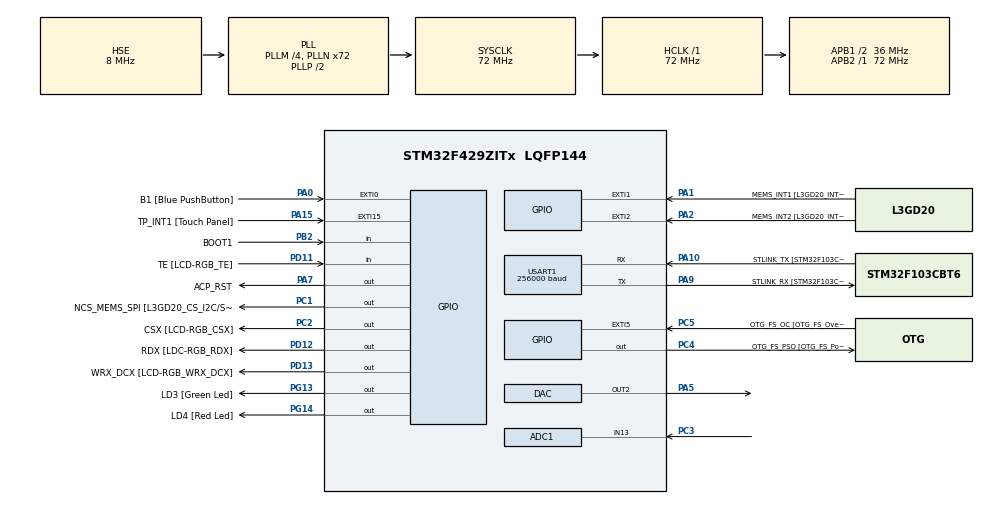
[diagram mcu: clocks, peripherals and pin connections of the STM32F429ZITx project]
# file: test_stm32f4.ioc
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ADC1.Channel-0\#ChannelRegularConversion=ADC_CHANNEL_13
ADC1.ExternalTrigConv=ADC_EXTERNALTRIGCONV_T3_TRGO
ADC1.NbrOfConversionFlag=1
ADC1.Rank-0\#ChannelRegularConversion=1
ADC1.SamplingTime-0\#ChannelRegularConversion=ADC_SAMPLETIME_3CYCLES
ADC1.master=1
DAC.DAC_Trigger2=DAC_TRIGGER_T6_TRGO
Dma.DAC2.0.Direction=DMA_MEMORY_TO_PERIPH
Dma.DAC2.0.FIFOMode=DMA_FIFOMODE_DISABLE
Dma.DAC2.0.Instance=DMA1_Stream6
Dma.DAC2.0.MemDataAlignment=DMA_MDATAALIGN_HALFWORD
Dma.DAC2.0.MemInc=DMA_MINC_ENABLE
Dma.DAC2.0.Mode=DMA_CIRCULAR
Dma.DAC2.0.PeriphDataAlignment=DMA_PDATAALIGN_HALFWORD
Dma.DAC2.0.PeriphInc=DMA_PINC_DISABLE
Dma.DAC2.0.Priority=DMA_PRIORITY_LOW
Dma.Request0=DAC2
Mcu.Family=STM32F4
Mcu.Name=STM32F429ZITx
Mcu.Package=LQFP144
NVIC.ADC_IRQn=true\:0\:0\:false\:false\:true\:true\:true\:true
NVIC.DMA1_Stream6_IRQn=true\:0\:0\:false\:false\:true\:false\:true\:true
NVIC.PriorityGroup=NVIC_PRIORITYGROUP_4
NVIC.TIM6_DAC_IRQn=true\:15\:0\:false\:false\:true\:false\:true\:true
NVIC.USART1_IRQn=true\:0\:0\:false\:false\:true\:true\:true\:true
PA0/WKUP.GPIO_Label=B1 [Blue PushButton]
PA0/WKUP.GPIO_ModeDefaultEXTI=GPIO_MODE_EVT_RISING
PA0/WKUP.GPIO_PuPd=GPIO_NOPULL
PA0/WKUP.Signal=GPXTI0
PA1.GPIO_Label=MEMS_INT1 [L3GD20_INT1]
PA1.GPIO_ModeDefaultEXTI=GPIO_MODE_EVT_RISING
PA1.GPIO_PuPd=GPIO_NOPULL
PA1.Signal=GPXTI1
PA10.GPIO_Label=STLINK_TX [STM32F103CBT6_PA2]
PA10.Mode=Asynchronous
PA10.Signal=USART1_RX
PA11.GPIO_Label=R4
PA11.GPIO_Mode=GPIO_MODE_AF_PP
PA11.GPIO_PuPd=GPIO_NOPULL
PA11.GPIO_Speed=GPIO_SPEED_FREQ_LOW
PA11.Signal=LTDC_R4
PA12.GPIO_Label=R5
PA12.GPIO_Mode=GPIO_MODE_AF_PP
PA12.GPIO_PuPd=GPIO_NOPULL
PA12.GPIO_Speed=GPIO_SPEED_FREQ_LOW
PA12.Signal=LTDC_R5
PA13.GPIO_Label=SWDIO
PA13.Mode=Serial_Wire
PA13.Signal=SYS_JTMS-SWDIO
PA14.GPIO_Label=SWCLK
PA14.Mode=Serial_Wire
PA14.Signal=SYS_JTCK-SWCLK
PA15.GPIO_Label=TP_INT1 [Touch Panel]
PA15.GPIO_ModeDefaultEXTI=GPIO_MODE_EVT_RISING
PA15.GPIO_PuPd=GPIO_NOPULL
PA15.Signal=GPXTI15
PA2.GPIO_Label=MEMS_INT2 [L3GD20_INT2]
PA2.GPIO_ModeDefaultEXTI=GPIO_MODE_EVT_RISING
PA2.GPIO_PuPd=GPIO_NOPULL
PA2.Signal=GPXTI2
PA3.GPIO_Label=B5
PA3.GPIO_Mode=GPIO_MODE_AF_PP
PA3.GPIO_PuPd=GPIO_NOPULL
PA3.GPIO_Speed=GPIO_SPEED_FREQ_LOW
PA3.Signal=LTDC_B5
PA4.GPIO_Label=VSYNC
PA4.GPIO_Mode=GPIO_MODE_AF_PP
PA4.GPIO_PuPd=GPIO_NOPULL
PA4.GPIO_Speed=GPIO_SPEED_FREQ_LOW
PA4.Signal=LTDC_VSYNC
PA5.Signal=COMP_DAC2_group
PA6.GPIO_Label=G2
PA6.GPIO_Mode=GPIO_MODE_AF_PP
PA6.GPIO_PuPd=GPIO_NOPULL
PA6.GPIO_Speed=GPIO_SPEED_FREQ_LOW
PA6.Signal=LTDC_G2
PA7.GPIO_Label=ACP_RST
PA7.GPIO_Mode=GPIO_MODE_OUTPUT_PP
PA7.GPIO_PuPd=GPIO_NOPULL
PA7.GPIO_Speed=GPIO_SPEED_FREQ_LOW
PA7.Signal=GPIO_Output
PA8.GPIO_Label=I2C3_SCL [ACP/RF_SCL]
PA8.GPIO_Mode=GPIO_MODE_AF_OD
PA8.GPIO_Pu=GPIO_PULLUP
PA8.GPIO_PuPd=GPIO_NOPULL
PA8.GPIO_Speed=GPIO_SPEED_FREQ_LOW
PA8.Signal=I2C3_SCL
PA9.GPIO_Label=STLINK_RX [STM32F103CBT6_PA3]
PA9.Mode=Asynchronous
PA9.Signal=USART1_TX
PB0.GPIO_Label=R3
PB0.GPIO_Mode=GPIO_MODE_AF_PP
PB0.GPIO_PuPd=GPIO_NOPULL
PB0.GPIO_Speed=GPIO_SPEED_FREQ_LOW
PB0.Signal=LTDC_R3
PB1.GPIO_Label=R6
PB1.GPIO_Mode=GPIO_MODE_AF_PP
PB1.GPIO_PuPd=GPIO_NOPULL
PB1.GPIO_Speed=GPIO_SPEED_FREQ_LOW
PB1.Signal=LTDC_R6
PB10.GPIO_Label=G4
PB10.GPIO_Mode=GPIO_MODE_AF_PP
PB10.GPIO_PuPd=GPIO_NOPULL
PB10.GPIO_Speed=GPIO_SPEED_FREQ_LOW
PB10.Signal=LTDC_G4
PB11.GPIO_Label=G5
PB11.GPIO_Mode=GPIO_MODE_AF_PP
PB11.GPIO_PuPd=GPIO_NOPULL
PB11.GPIO_Speed=GPIO_SPEED_FREQ_LOW
PB11.Signal=LTDC_G5
PB12.GPIO_Label=OTG_HS_ID
PB12.GPIO_Mode=GPIO_MODE_AF_PP
PB12.GPIO_PuPd=GPIO_NOPULL
PB12.GPIO_Speed=GPIO_SPEED_FREQ_LOW
PB12.Signal=USB_OTG_HS_ID
PB13.GPIO_Label=VBUS_HS
PB13.GPIO_Mode=GPIO_MODE_INPUT
PB13.GPIO_PuPd=GPIO_NOPULL
PB13.Signal=USB_OTG_HS_VBUS
PB14.GPIO_Label=OTG_HS_DM
PB14.GPIO_Mode=GPIO_MODE_AF_PP
PB14.GPIO_PuPd=GPIO_NOPULL
PB14.GPIO_Speed=GPIO_SPEED_FREQ_LOW
PB14.Signal=USB_OTG_HS_DM
PB15.GPIO_Label=OTG_HS_DP
PB15.GPIO_Mode=GPIO_MODE_AF_PP
PB15.GPIO_PuPd=GPIO_NOPULL
PB15.GPIO_Speed=GPIO_SPEED_FREQ_LOW
PB15.Signal=USB_OTG_HS_DP
PB2/BOOT1.GPIO_Label=BOOT1
PB2/BOOT1.GPIO_Mode=GPIO_MODE_INPUT
PB2/BOOT1.GPIO_PuPd=GPIO_NOPULL
PB2/BOOT1.Signal=GPIO_Input
PB5.GPIO_Label=SDCKE1
PB5.GPIO_Mode=GPIO_MODE_AF_PP
PB5.GPIO_PuPd=GPIO_NOPULL
PB5.GPIO_Speed=GPIO_SPEED_FREQ_VERY_HIGH
PB5.Signal=FMC_SDCKE1
PB6.GPIO_Label=SDNE1 [SDRAM_CS]
PB6.GPIO_Mode=GPIO_MODE_AF_PP
PB6.GPIO_PuPd=GPIO_NOPULL
PB6.GPIO_Speed=GPIO_SPEED_FREQ_VERY_HIGH
PB6.Signal=FMC_SDNE1
PB8.GPIO_Label=B6
PB8.GPIO_Mode=GPIO_MODE_AF_PP
PB8.GPIO_PuPd=GPIO_NOPULL
PB8.GPIO_Speed=GPIO_SPEED_FREQ_LOW
PB8.Signal=LTDC_B6
PB9.GPIO_Label=B7
PB9.GPIO_Mode=GPIO_MODE_AF_PP
PB9.GPIO_PuPd=GPIO_NOPULL
PB9.GPIO_Speed=GPIO_SPEED_FREQ_LOW
PB9.Signal=LTDC_B7
PC0.GPIO_Label=SDNWE
PC0.GPIO_Mode=GPIO_MODE_AF_PP
PC0.GPIO_PuPd=GPIO_NOPULL
PC0.GPIO_Speed=GPIO_SPEED_FREQ_VERY_HIGH
PC0.Signal=FMC_SDNWE
PC1.GPIO_Label=NCS_MEMS_SPI [L3GD20_CS_I2C/SPI]
PC1.GPIO_Mode=GPIO_MODE_OUTPUT_PP
PC1.GPIO_PuPd=GPIO_NOPULL
PC1.GPIO_Speed=GPIO_SPEED_FREQ_LOW
PC1.Signal=GPIO_Output
PC10.GPIO_Label=R2
PC10.GPIO_Mode=GPIO_MODE_AF_PP
PC10.GPIO_PuPd=GPIO_NOPULL
PC10.GPIO_Speed=GPIO_SPEED_FREQ_LOW
PC10.Signal=LTDC_R2
PC14/OSC32_IN.GPIO_Label=PC14-OSC32_IN
PC14/OSC32_IN.Signal=RCC_OSC32_IN
PC15/OSC32_OUT.GPIO_Label=PC15-OSC32_OUT
PC15/OSC32_OUT.Signal=RCC_OSC32_OUT
PC2.GPIO_Label=CSX [LCD-RGB_CSX]
PC2.GPIO_Mode=GPIO_MODE_OUTPUT_PP
PC2.GPIO_PuPd=GPIO_NOPULL
PC2.GPIO_Speed=GPIO_SPEED_FREQ_LOW
PC2.Signal=GPIO_Output
PC3.Signal=ADCx_IN13
PC4.GPIO_Label=OTG_FS_PSO [OTG_FS_PowerSwitchOn]
PC4.GPIO_Mode=GPIO_MODE_OUTPUT_PP
PC4.GPIO_PuPd=GPIO_NOPULL
PC4.GPIO_Speed=GPIO_SPEED_FREQ_LOW
PC4.Signal=GPIO_Output
PC5.GPIO_Label=OTG_FS_OC [OTG_FS_OverCurrent]
PC5.GPIO_ModeDefaultEXTI=GPIO_MODE_EVT_RISING
PC5.Signal=GPXTI5
PC6.GPIO_Label=HSYNC
PC6.GPIO_Mode=GPIO_MODE_AF_PP
PC6.GPIO_PuPd=GPIO_NOPULL
PC6.GPIO_Speed=GPIO_SPEED_FREQ_LOW
PC6.Signal=LTDC_HSYNC
PC7.GPIO_Label=G6
PC7.GPIO_Mode=GPIO_MODE_AF_PP
PC7.GPIO_PuPd=GPIO_NOPULL
PC7.GPIO_Speed=GPIO_SPEED_FREQ_LOW
PC7.Signal=LTDC_G6
PC9.GPIO_Label=I2C3_SDA [ACP/RF_SDA]
PC9.GPIO_Mode=GPIO_MODE_AF_OD
PC9.GPIO_Pu=GPIO_PULLUP
PC9.GPIO_PuPd=GPIO_NOPULL
PC9.GPIO_Speed=GPIO_SPEED_FREQ_LOW
PC9.Signal=I2C3_SDA
PD0.GPIO_Label=D2
PD0.GPIO_Mode=GPIO_MODE_AF_PP
PD0.GPIO_PuPd=GPIO_NOPULL
PD0.GPIO_Speed=GPIO_SPEED_FREQ_VERY_HIGH
PD0.Signal=FMC_D2_DA2
PD1.GPIO_Label=D3
PD1.GPIO_Mode=GPIO_MODE_AF_PP
PD1.GPIO_PuPd=GPIO_NOPULL
PD1.GPIO_Speed=GPIO_SPEED_FREQ_VERY_HIGH
PD1.Signal=FMC_D3_DA3
PD10.GPIO_Label=D15
PD10.GPIO_Mode=GPIO_MODE_AF_PP
PD10.GPIO_PuPd=GPIO_NOPULL
PD10.GPIO_Speed=GPIO_SPEED_FREQ_VERY_HIGH
PD10.Signal=FMC_D15_DA15
PD11.GPIO_Label=TE [LCD-RGB_TE]
PD11.GPIO_Mode=GPIO_MODE_INPUT
PD11.GPIO_PuPd=GPIO_NOPULL
PD11.Signal=GPIO_Input
PD12.GPIO_Label=RDX [LDC-RGB_RDX]
PD12.GPIO_Mode=GPIO_MODE_OUTPUT_PP
PD12.GPIO_PuPd=GPIO_NOPULL
PD12.GPIO_Speed=GPIO_SPEED_FREQ_LOW
PD12.Signal=GPIO_Output
PD13.GPIO_Label=WRX_DCX [LCD-RGB_WRX_DCX]
PD13.GPIO_Mode=GPIO_MODE_OUTPUT_PP
PD13.GPIO_PuPd=GPIO_NOPULL
PD13.GPIO_Speed=GPIO_SPEED_FREQ_LOW
PD13.Signal=GPIO_Output
PD14.GPIO_Label=D0
PD14.GPIO_Mode=GPIO_MODE_AF_PP
PD14.GPIO_PuPd=GPIO_NOPULL
PD14.GPIO_Speed=GPIO_SPEED_FREQ_VERY_HIGH
PD14.Signal=FMC_D0_DA0
PD15.GPIO_Label=D1
PD15.GPIO_Mode=GPIO_MODE_AF_PP
PD15.GPIO_PuPd=GPIO_NOPULL
PD15.GPIO_Speed=GPIO_SPEED_FREQ_VERY_HIGH
PD15.Signal=FMC_D1_DA1
PD3.GPIO_Label=G7
PD3.GPIO_Mode=GPIO_MODE_AF_PP
PD3.GPIO_PuPd=GPIO_NOPULL
PD3.GPIO_Speed=GPIO_SPEED_FREQ_LOW
PD3.Signal=LTDC_G7
PD6.GPIO_Label=B2
PD6.GPIO_Mode=GPIO_MODE_AF_PP
PD6.GPIO_PuPd=GPIO_NOPULL
PD6.GPIO_Speed=GPIO_SPEED_FREQ_LOW
PD6.Signal=LTDC_B2
PD8.GPIO_Label=D13
PD8.GPIO_Mode=GPIO_MODE_AF_PP
PD8.GPIO_PuPd=GPIO_NOPULL
PD8.GPIO_Speed=GPIO_SPEED_FREQ_VERY_HIGH
PD8.Signal=FMC_D13_DA13
PD9.GPIO_Label=D14
PD9.GPIO_Mode=GPIO_MODE_AF_PP
PD9.GPIO_PuPd=GPIO_NOPULL
PD9.GPIO_Speed=GPIO_SPEED_FREQ_VERY_HIGH
PD9.Signal=FMC_D14_DA14
PE0.GPIO_Label=NBL0 [SDRAM_LDQM]
PE0.GPIO_Mode=GPIO_MODE_AF_PP
PE0.GPIO_PuPd=GPIO_NOPULL
PE0.GPIO_Speed=GPIO_SPEED_FREQ_VERY_HIGH
PE0.Signal=FMC_NBL0
PE1.GPIO_Label=NBL1 [SDRAM_UDQM]
PE1.GPIO_Mode=GPIO_MODE_AF_PP
PE1.GPIO_PuPd=GPIO_NOPULL
PE1.GPIO_Speed=GPIO_SPEED_FREQ_VERY_HIGH
PE1.Signal=FMC_NBL1
PE10.GPIO_Label=D7
PE10.GPIO_Mode=GPIO_MODE_AF_PP
PE10.GPIO_PuPd=GPIO_NOPULL
PE10.GPIO_Speed=GPIO_SPEED_FREQ_VERY_HIGH
PE10.Signal=FMC_D7_DA7
PE11.GPIO_Label=D8
PE11.GPIO_Mode=GPIO_MODE_AF_PP
PE11.GPIO_PuPd=GPIO_NOPULL
PE11.GPIO_Speed=GPIO_SPEED_FREQ_VERY_HIGH
PE11.Signal=FMC_D8_DA8
PE12.GPIO_Label=D9
PE12.GPIO_Mode=GPIO_MODE_AF_PP
PE12.GPIO_PuPd=GPIO_NOPULL
PE12.GPIO_Speed=GPIO_SPEED_FREQ_VERY_HIGH
PE12.Signal=FMC_D9_DA9
PE13.GPIO_Label=D10
PE13.GPIO_Mode=GPIO_MODE_AF_PP
PE13.GPIO_PuPd=GPIO_NOPULL
PE13.GPIO_Speed=GPIO_SPEED_FREQ_VERY_HIGH
PE13.Signal=FMC_D10_DA10
PE14.GPIO_Label=D11
PE14.GPIO_Mode=GPIO_MODE_AF_PP
PE14.GPIO_PuPd=GPIO_NOPULL
PE14.GPIO_Speed=GPIO_SPEED_FREQ_VERY_HIGH
PE14.Signal=FMC_D11_DA11
PE15.GPIO_Label=D12
PE15.GPIO_Mode=GPIO_MODE_AF_PP
PE15.GPIO_PuPd=GPIO_NOPULL
PE15.GPIO_Speed=GPIO_SPEED_FREQ_VERY_HIGH
PE15.Signal=FMC_D12_DA12
PE7.GPIO_Label=D4
PE7.GPIO_Mode=GPIO_MODE_AF_PP
PE7.GPIO_PuPd=GPIO_NOPULL
PE7.GPIO_Speed=GPIO_SPEED_FREQ_VERY_HIGH
PE7.Signal=FMC_D4_DA4
PE8.GPIO_Label=D5
PE8.GPIO_Mode=GPIO_MODE_AF_PP
PE8.GPIO_PuPd=GPIO_NOPULL
PE8.GPIO_Speed=GPIO_SPEED_FREQ_VERY_HIGH
PE8.Signal=FMC_D5_DA5
PE9.GPIO_Label=D6
PE9.GPIO_Mode=GPIO_MODE_AF_PP
PE9.GPIO_PuPd=GPIO_NOPULL
PE9.GPIO_Speed=GPIO_SPEED_FREQ_VERY_HIGH
PE9.Signal=FMC_D6_DA6
PF0.GPIO_Label=A0
PF0.GPIO_Mode=GPIO_MODE_AF_PP
PF0.GPIO_PuPd=GPIO_NOPULL
PF0.GPIO_Speed=GPIO_SPEED_FREQ_VERY_HIGH
PF0.Signal=FMC_A0
PF1.GPIO_Label=A1
PF1.GPIO_Mode=GPIO_MODE_AF_PP
PF1.GPIO_PuPd=GPIO_NOPULL
PF1.GPIO_Speed=GPIO_SPEED_FREQ_VERY_HIGH
PF1.Signal=FMC_A1
PF10.GPIO_Label=ENABLE [LCD-RGB_ENABLE]
PF10.GPIO_Mode=GPIO_MODE_AF_PP
PF10.GPIO_PuPd=GPIO_NOPULL
PF10.GPIO_Speed=GPIO_SPEED_FREQ_LOW
PF10.Signal=LTDC_DE
PF11.GPIO_Label=SDNRAS
PF11.GPIO_Mode=GPIO_MODE_AF_PP
PF11.GPIO_PuPd=GPIO_NOPULL
PF11.GPIO_Speed=GPIO_SPEED_FREQ_VERY_HIGH
PF11.Signal=FMC_SDNRAS
PF12.GPIO_Label=A6
PF12.GPIO_Mode=GPIO_MODE_AF_PP
PF12.GPIO_PuPd=GPIO_NOPULL
PF12.GPIO_Speed=GPIO_SPEED_FREQ_VERY_HIGH
PF12.Signal=FMC_A6
PF13.GPIO_Label=A7
PF13.GPIO_Mode=GPIO_MODE_AF_PP
PF13.GPIO_PuPd=GPIO_NOPULL
PF13.GPIO_Speed=GPIO_SPEED_FREQ_VERY_HIGH
PF13.Signal=FMC_A7
PF14.GPIO_Label=A8
PF14.GPIO_Mode=GPIO_MODE_AF_PP
PF14.GPIO_PuPd=GPIO_NOPULL
PF14.GPIO_Speed=GPIO_SPEED_FREQ_VERY_HIGH
PF14.Signal=FMC_A8
PF15.GPIO_Label=A9
PF15.GPIO_Mode=GPIO_MODE_AF_PP
PF15.GPIO_PuPd=GPIO_NOPULL
PF15.GPIO_Speed=GPIO_SPEED_FREQ_VERY_HIGH
PF15.Signal=FMC_A9
PF2.GPIO_Label=A2
PF2.GPIO_Mode=GPIO_MODE_AF_PP
PF2.GPIO_PuPd=GPIO_NOPULL
PF2.GPIO_Speed=GPIO_SPEED_FREQ_VERY_HIGH
PF2.Signal=FMC_A2
PF3.GPIO_Label=A3
PF3.GPIO_Mode=GPIO_MODE_AF_PP
PF3.GPIO_PuPd=GPIO_NOPULL
PF3.GPIO_Speed=GPIO_SPEED_FREQ_VERY_HIGH
PF3.Signal=FMC_A3
PF4.GPIO_Label=A4
PF4.GPIO_Mode=GPIO_MODE_AF_PP
PF4.GPIO_PuPd=GPIO_NOPULL
PF4.GPIO_Speed=GPIO_SPEED_FREQ_VERY_HIGH
PF4.Signal=FMC_A4
PF5.GPIO_Label=A5
PF5.GPIO_Mode=GPIO_MODE_AF_PP
PF5.GPIO_PuPd=GPIO_NOPULL
PF5.GPIO_Speed=GPIO_SPEED_FREQ_VERY_HIGH
PF5.Signal=FMC_A5
PF7.GPIO_Label=SPI5_SCK [L3GD20_SCL/SPC]
PF7.GPIO_Mode=GPIO_MODE_AF_PP
PF7.GPIO_PuPd=GPIO_NOPULL
PF7.GPIO_Speed=GPIO_SPEED_FREQ_LOW
PF7.Signal=SPI5_SCK
PF8.GPIO_Label=SPI5_MISO [L3GD20_SDO]
PF8.GPIO_Mode=GPIO_MODE_AF_PP
PF8.GPIO_PuPd=GPIO_NOPULL
PF8.GPIO_Speed=GPIO_SPEED_FREQ_LOW
PF8.Signal=SPI5_MISO
PF9.GPIO_Label=SPI5_MOSI [L3GD20_SDA/SDI/SDO]
PF9.GPIO_Mode=GPIO_MODE_AF_PP
PF9.GPIO_PuPd=GPIO_NOPULL
PF9.GPIO_Speed=GPIO_SPEED_FREQ_LOW
PF9.Signal=SPI5_MOSI
PG0.GPIO_Label=A10
PG0.GPIO_Mode=GPIO_MODE_AF_PP
PG0.GPIO_PuPd=GPIO_NOPULL
PG0.GPIO_Speed=GPIO_SPEED_FREQ_VERY_HIGH
PG0.Signal=FMC_A10
PG1.GPIO_Label=A11
PG1.GPIO_Mode=GPIO_MODE_AF_PP
PG1.GPIO_PuPd=GPIO_NOPULL
PG1.GPIO_Speed=GPIO_SPEED_FREQ_VERY_HIGH
PG1.Signal=FMC_A11
PG10.GPIO_Label=G3
PG10.GPIO_Mode=GPIO_MODE_AF_PP
PG10.GPIO_PuPd=GPIO_NOPULL
PG10.GPIO_Speed=GPIO_SPEED_FREQ_LOW
PG10.Signal=LTDC_G3
PG11.GPIO_Label=B3
PG11.GPIO_Mode=GPIO_MODE_AF_PP
PG11.GPIO_PuPd=GPIO_NOPULL
PG11.GPIO_Speed=GPIO_SPEED_FREQ_LOW
PG11.Signal=LTDC_B3
PG12.GPIO_Label=B4
PG12.GPIO_Mode=GPIO_MODE_AF_PP
PG12.GPIO_PuPd=GPIO_NOPULL
PG12.GPIO_Speed=GPIO_SPEED_FREQ_LOW
PG12.Signal=LTDC_B4
PG13.GPIO_Label=LD3 [Green Led]
PG13.GPIO_Mode=GPIO_MODE_OUTPUT_PP
PG13.GPIO_PuPd=GPIO_NOPULL
PG13.GPIO_Speed=GPIO_SPEED_FREQ_LOW
PG13.Signal=GPIO_Output
PG14.GPIO_Label=LD4 [Red Led]
PG14.GPIO_Mode=GPIO_MODE_OUTPUT_PP
PG14.GPIO_PuPd=GPIO_NOPULL
PG14.GPIO_Speed=GPIO_SPEED_FREQ_LOW
PG14.Signal=GPIO_Output
PG15.GPIO_Label=SDNCAS
PG15.GPIO_Mode=GPIO_MODE_AF_PP
PG15.GPIO_PuPd=GPIO_NOPULL
PG15.GPIO_Speed=GPIO_SPEED_FREQ_VERY_HIGH
PG15.Signal=FMC_SDNCAS
PG4.GPIO_Label=BA0
PG4.GPIO_Mode=GPIO_MODE_AF_PP
PG4.GPIO_PuPd=GPIO_NOPULL
PG4.GPIO_Speed=GPIO_SPEED_FREQ_VERY_HIGH
PG4.Signal=FMC_A14_BA0
PG5.GPIO_Label=BA1
PG5.GPIO_Mode=GPIO_MODE_AF_PP
PG5.GPIO_PuPd=GPIO_NOPULL
PG5.GPIO_Speed=GPIO_SPEED_FREQ_VERY_HIGH
PG5.Signal=FMC_A15_BA1
PG6.GPIO_Label=R7
PG6.GPIO_Mode=GPIO_MODE_AF_PP
PG6.GPIO_PuPd=GPIO_NOPULL
PG6.GPIO_Speed=GPIO_SPEED_FREQ_LOW
PG6.Signal=LTDC_R7
PG7.GPIO_Label=DOTCLK [LCT-RGB_DOTCLK]
PG7.GPIO_Mode=GPIO_MODE_AF_PP
PG7.GPIO_PuPd=GPIO_NOPULL
PG7.GPIO_Speed=GPIO_SPEED_FREQ_LOW
PG7.Signal=LTDC_CLK
PG8.GPIO_Label=SDCLK
PG8.GPIO_Mode=GPIO_MODE_AF_PP
PG8.GPIO_PuPd=GPIO_NOPULL
PG8.GPIO_Speed=GPIO_SPEED_FREQ_VERY_HIGH
PG8.Signal=FMC_SDCLK
PH0/OSC_IN.GPIO_Label=PH0-OSC_IN
PH0/OSC_IN.Mode=HSE-External-Oscillator
PH0/OSC_IN.Signal=RCC_OSC_IN
PH1/OSC_OUT.GPIO_Label=PH1-OSC_OUT
PH1/OSC_OUT.Mode=HSE-External-Oscillator
PH1/OSC_OUT.Signal=RCC_OSC_OUT
ProjectManager.HeapSize=0x200
ProjectManager.StackSize=0x400
ProjectManager.TargetToolchain=Makefile
RCC.48MHZClocksFreq_Value=48000000
RCC.AHBFreq_Value=72000000
RCC.APB1CLKDivider=RCC_HCLK_DIV2
RCC.APB1Freq_Value=36000000
RCC.APB1TimFreq_Value=72000000
RCC.APB2Freq_Value=72000000
RCC.APB2TimFreq_Value=72000000
RCC.CortexFreq_Value=72000000
RCC.HCLKFreq_Value=72000000
RCC.HSE_VALUE=8000000
RCC.HSI_VALUE=16000000
RCC.LSE_VALUE=32768
RCC.PLLM=4
RCC.PLLN=72
RCC.PLLQ=3
RCC.PLLSAIN=50
RCC.PLLSourceVirtual=RCC_PLLSOURCE_HSE
RCC.SYSCLKFreq_VALUE=72000000
RCC.SYSCLKSource=RCC_SYSCLKSOURCE_PLLCLK
RCC.VCOOutputFreq_Value=144000000
SH.ADCx_IN13.0=ADC1_IN13,IN13
SH.COMP_DAC2_group.0=DAC_OUT2,DAC_OUT2
SH.FMC_A0.0=FMC_A0
SH.FMC_A1.0=FMC_A1
SH.FMC_A10.0=FMC_A10
SH.FMC_A11.0=FMC_A11
SH.FMC_A14_BA0.0=FMC_BA0
SH.FMC_A15_BA1.0=FMC_BA1
SH.FMC_A2.0=FMC_A2
SH.FMC_A3.0=FMC_A3
SH.FMC_A4.0=FMC_A4
SH.FMC_A5.0=FMC_A5
SH.FMC_A6.0=FMC_A6
SH.FMC_A7.0=FMC_A7
SH.FMC_A8.0=FMC_A8
SH.FMC_A9.0=FMC_A9
SH.FMC_D0_DA0.0=FMC_D0
SH.FMC_D10_DA10.0=FMC_D10
SH.FMC_D11_DA11.0=FMC_D11
SH.FMC_D12_DA12.0=FMC_D12
SH.FMC_D13_DA13.0=FMC_D13
SH.FMC_D14_DA14.0=FMC_D14
SH.FMC_D15_DA15.0=FMC_D15
SH.FMC_D1_DA1.0=FMC_D1
SH.FMC_D2_DA2.0=FMC_D2
SH.FMC_D3_DA3.0=FMC_D3
SH.FMC_D4_DA4.0=FMC_D4
SH.FMC_D5_DA5.0=FMC_D5
SH.FMC_D6_DA6.0=FMC_D6
SH.FMC_D7_DA7.0=FMC_D7
SH.FMC_D8_DA8.0=FMC_D8
SH.FMC_D9_DA9.0=FMC_D9
SH.FMC_NBL0.0=FMC_NBL0
SH.FMC_NBL1.0=FMC_NBL1
SH.FMC_SDCLK.0=FMC_SDCLK
SH.FMC_SDNCAS.0=FMC_SDNCAS
SH.FMC_SDNRAS.0=FMC_SDNRAS
SH.FMC_SDNWE.0=FMC_SDNWE
TIM3.Period=159
TIM3.Prescaler=999
TIM3.TIM_MasterOutputTrigger=TIM_TRGO_UPDATE
TIM6.Period=999
TIM6.Prescaler=71
TIM6.TIM_MasterOutputTrigger=TIM_TRGO_UPDATE
USART1.BaudRate=256000
USART1.VirtualMode=VM_ASYNC
VP_TIM3_VS_ClockSourceINT.Mode=Internal
VP_TIM6_VS_ClockSourceINT.Mode=Enable_Timer
board=STM32F429I-DISC1

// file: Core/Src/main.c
/* USER CODE BEGIN Header */
/**
  ******************************************************************************
  * @file           : main.c
  * @brief          : Main program body
  ******************************************************************************
  * @attention
  *
  * Copyright (c) 2022 STMicroelectronics.
  * All rights reserved.
  *
  * This software is licensed under terms that can be found in the LICENSE file
  * in the root directory of this software component.
  * If no LICENSE file comes with this software, it is provided AS-IS.
  *
  ******************************************************************************
  */
/* USER CODE END Header */
#include "main.h"
#include "adc.h"
#include "dac.h"
#include "dma.h"
#include "tim.h"
#include "usart.h"
#include "gpio.h"

/* USER CODE BEGIN Includes */
#include <stdio.h>
#include <string.h>

#include "ksps_signal.h"
/* USER CODE END Includes */

void SystemClock_Config(void);

/* USER CODE BEGIN 0 */
typedef struct flags_t {
  uint8_t send;
  uint8_t adc_complete;
  } flags_t;
typedef struct data_t
{
  uint16_t adc, ks, ps;
} data_t;

flags_t flags;
data_t dt;

static signal_param_t signal_param = {
  .ks_ampl = 500,
  .ks_freq = 20,
  .ps_offset = 2000,
};

static uint16_t buf_tr[1000*8] = {};
int btn_clicked(void);
/* USER CODE END 0 */

int main(void)
{

  /* MCU Configuration--------------------------------------------------------*/

  /* Reset of all peripherals, Initializes the Flash interface and the Systick. */
  HAL_Init();

  /* Configure the system clock */
  SystemClock_Config();

  /* Initialize all configured peripherals */
  MX_GPIO_Init();
  MX_DMA_Init();
  MX_ADC1_Init();
  MX_DAC_Init();
  MX_USART1_UART_Init();
  MX_TIM3_Init();
  MX_TIM6_Init();
  /* USER CODE BEGIN 2 */
  HAL_ADC_Start_IT(&hadc1);
  HAL_TIM_Base_Start_IT(&htim6);
  HAL_TIM_Base_Start_IT(&htim3);
  HAL_DAC_Start_DMA(&hdac, DAC_CHANNEL_2, (uint32_t*)buf_tr, sizeof(buf_tr)/sizeof(buf_tr[0]), DAC_ALIGN_12B_R);
  /* USER CODE END 2 */

  /* Infinite loop */
  /* USER CODE BEGIN WHILE */
  char s[32];

  generate_signal_bfr(buf_tr, ARRAY_LEN(buf_tr), &signal_param);

  while (1)
  {
    if (flags.adc_complete)
    {
      flags.adc_complete = 0;
      dt.adc = HAL_ADC_GetValue(&hadc1);

      HAL_GPIO_WritePin(LD3_GPIO_Port, LD3_Pin, GPIO_PIN_SET);

      dt.ps = get_ps(dt.adc);
      dt.ks = get_ks_ampl(get_ks(dt.adc*2), 80);

      HAL_GPIO_WritePin(LD3_GPIO_Port, LD3_Pin, GPIO_PIN_RESET);
    }

    if (flags.send) {
      flags.send = 0;

      HAL_GPIO_TogglePin(LD4_GPIO_Port, LD4_Pin);
      sprintf(s, "%u,%u,%u\r\n",dt.adc, dt.ks, dt.ps);
      HAL_UART_Transmit_IT(&huart1, (uint8_t*)s, strlen(s));
    }

    if ( btn_clicked() )
    {
      update_signal_noise(&signal_param);
      generate_signal_bfr(buf_tr, ARRAY_LEN(buf_tr), &signal_param);
    }
    /* USER CODE END WHILE */

  }
}

void SystemClock_Config(void)
{
  RCC_OscInitTypeDef RCC_OscInitStruct = {0};
  RCC_ClkInitTypeDef RCC_ClkInitStruct = {0};

  /** Configure the main internal regulator output voltage
  */
  __HAL_RCC_PWR_CLK_ENABLE();
  __HAL_PWR_VOLTAGESCALING_CONFIG(PWR_REGULATOR_VOLTAGE_SCALE3);

  /** Initializes the RCC Oscillators according to the specified parameters
  * in the RCC_OscInitTypeDef structure.
  */
  RCC_OscInitStruct.OscillatorType = RCC_OSCILLATORTYPE_HSE;
  RCC_OscInitStruct.HSEState = RCC_HSE_ON;
  RCC_OscInitStruct.PLL.PLLState = RCC_PLL_ON;
  RCC_OscInitStruct.PLL.PLLSource = RCC_PLLSOURCE_HSE;
  RCC_OscInitStruct.PLL.PLLM = 4;
  RCC_OscInitStruct.PLL.PLLN = 72;
  RCC_OscInitStruct.PLL.PLLP = RCC_PLLP_DIV2;
  RCC_OscInitStruct.PLL.PLLQ = 3;
  if (HAL_RCC_OscConfig(&RCC_OscInitStruct) != HAL_OK)
  {
    Error_Handler();
  }

  /** Initializes the CPU, AHB and APB buses clocks
  */
  RCC_ClkInitStruct.ClockType = RCC_CLOCKTYPE_HCLK|RCC_CLOCKTYPE_SYSCLK
                              |RCC_CLOCKTYPE_PCLK1|RCC_CLOCKTYPE_PCLK2;
  RCC_ClkInitStruct.SYSCLKSource = RCC_SYSCLKSOURCE_PLLCLK;
  RCC_ClkInitStruct.AHBCLKDivider = RCC_SYSCLK_DIV1;
  RCC_ClkInitStruct.APB1CLKDivider = RCC_HCLK_DIV2;
  RCC_ClkInitStruct.APB2CLKDivider = RCC_HCLK_DIV1;

  if (HAL_RCC_ClockConfig(&RCC_ClkInitStruct, FLASH_LATENCY_2) != HAL_OK)
  {
    Error_Handler();
  }
}

/* USER CODE BEGIN 4 */
void HAL_TIM_PeriodElapsedCallback(TIM_HandleTypeDef *htim)
{
  if (htim->Instance == TIM6)
  {
    flags.send = 1;
  }
}
void HAL_ADC_ConvCpltCallback(ADC_HandleTypeDef *adc)
{
  flags.adc_complete = 1;
}

int btn_clicked(void)
{
  int result = 0;
  static GPIO_PinState btn_old = GPIO_PIN_RESET;
  GPIO_PinState btn = HAL_GPIO_ReadPin(B1_GPIO_Port, B1_Pin);

  if (btn == GPIO_PIN_SET && btn_old == GPIO_PIN_RESET)
  {
    result = 1;
  }
  btn_old = btn;

  return result;
}
/* USER CODE END 4 */

void Error_Handler(void)
{
  __disable_irq();
  while (1)
  {
  }
}
